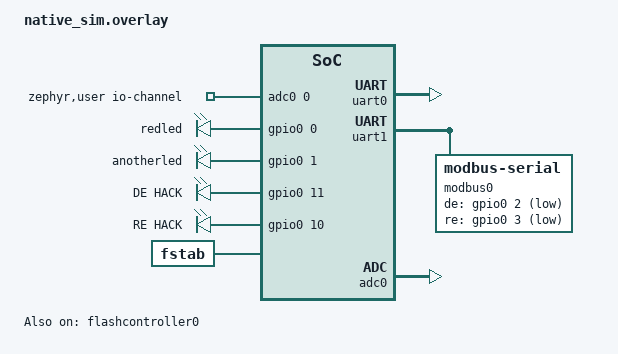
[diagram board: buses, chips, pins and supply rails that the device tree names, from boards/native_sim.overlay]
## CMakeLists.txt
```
set(BOARD potato)
set(BOARD_ROOT ${CMAKE_CURRENT_SOURCE_DIR})

cmake_minimum_required(VERSION 3.13.1)
find_package(Zephyr REQUIRED HINTS $ENV{ZEPHYR_BASE})

project(POTATO LANGUAGES C)

FILE(GLOB sources src/*.c)
target_sources(app PRIVATE ${sources})
```

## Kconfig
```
# Copyright (c) 2024 Aaron Chan
# SPDX-License-Identifier: Apache-2.0

menu "Zephyr"
source "Kconfig.zephyr"
endmenu

module = APP_POTATO
module-str = APP_POTATO
source "subsys/logging/Kconfig.template.log_config"
```

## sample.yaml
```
sample:
  description: Potato
  name: potato
common:
  build_only: true
  integration_platforms:
    - potato
tests:
  app.default: {}
  app.debug:
    extra_overlay_confs:
      - debug.conf
```

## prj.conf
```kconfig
# Copyright (c) 2024 RIT Launch Initiative
# SPDX-License-Identifier: Apache-2.0

# ADC
CONFIG_ADC=y
CONFIG_MCP356X=y

# Clocks
CONFIG_CLOCK_CONTROL=y

# Flash
CONFIG_FLASH=y
CONFIG_FLASH_MAP=y
CONFIG_FLASH_PAGE_LAYOUT=y

# Filesystem
CONFIG_FLASH=y
CONFIG_FLASH_MAP=y
CONFIG_FLASH_PAGE_LAYOUT=y
CONFIG_DISK_ACCESS=y
CONFIG_FILE_SYSTEM=y
CONFIG_FILE_SYSTEM_LITTLEFS=y
CONFIG_FS_LITTLEFS_FMP_DEV=y
CONFIG_FS_LITTLEFS_NUM_FILES=4


# Hashmap for UDP
CONFIG_SYS_HASH_MAP=y
CONFIG_SYS_HASH_FUNC32=y

# IO
CONFIG_GPIO=y
CONFIG_I2C=y
#CONFIG_I2C_CALLBACK=y
#CONFIG_I2C_RTIO=y
CONFIG_PINCTRL=y
CONFIG_SERIAL=y
CONFIG_SPI=y
CONFIG_SPI_ASYNC=y
# CONFIG_SPI_RTIO=y
CONFIG_LED=y

# OS
CONFIG_POLL=y
CONFIG_TIMESLICE_SIZE=50
CONFIG_MAIN_STACK_SIZE=2048

# Launch Core
CONFIG_LAUNCH_CORE=y


# Networking
CONFIG_NETWORKING=y
CONFIG_NET_DEFAULT_IF_ETHERNET=y
CONFIG_NET_DRIVERS=y
CONFIG_NET_IPV4=y
CONFIG_NET_L2_ETHERNET=y
CONFIG_NET_L2_ETHERNET_MGMT=y
CONFIG_NET_SOCKETS=y
CONFIG_NET_SOCKETS_POSIX_NAMES=y

# RNG (Needed for networking)
CONFIG_ENTROPY_GENERATOR=y
CONFIG_TEST_RANDOM_GENERATOR=y # TODO: See if its worth using STM32 HW RNG to remove warning

# State Machine
CONFIG_SMF=y

# Sensors
CONFIG_SENSOR=y
CONFIG_LPS22HH=y
```

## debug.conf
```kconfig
# Copyright (c) 2024 Launch Initiative
# SPDX-License-Identifier: Apache-2.0

# Compiler
CONFIG_DEBUG=y
CONFIG_DEBUG_OPTIMIZATIONS=y
CONFIG_DEBUG_THREAD_INFO=y
CONFIG_THREAD_RUNTIME_STATS=y

# Console
CONFIG_CBPRINTF_FP_SUPPORT=y
CONFIG_CONSOLE=y
CONFIG_CONSOLE_GETCHAR=y
CONFIG_CONSOLE_GETCHAR_BUFSIZE=64
CONFIG_CONSOLE_PUTCHAR_BUFSIZE=512
CONFIG_CONSOLE_SUBSYS=y
CONFIG_SERIAL=y
CONFIG_STDOUT_CONSOLE=y
CONFIG_UART_CONSOLE=y

# Shell (common)
CONFIG_SHELL=y
CONFIG_DEVICE_SHELL=y
CONFIG_FILE_SYSTEM_SHELL=y
CONFIG_FLASH_MAP_SHELL=y
CONFIG_GPIO_SHELL=y
CONFIG_KERNEL_SHELL=y
CONFIG_HEAP_MEM_POOL_SIZE=4096

# Shell (networking)
CONFIG_NET_SHELL=y

# Shell (unique)
CONFIG_I2C_SHELL=y
CONFIG_SENSOR_SHELL=y

# Logging
CONFIG_APP_POTATO_LOG_LEVEL_DBG=y
CONFIG_LOG=y
```

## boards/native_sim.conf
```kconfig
# logging
CONFIG_LOG=y

CONFIG_CONSOLE_GETCHAR=y
CONFIG_UART_NATIVE_POSIX=y
CONFIG_FLASH_SIMULATOR=y
CONFIG_UART_NATIVE_POSIX_PORT_1_ENABLE=y

CONFIG_PINCTRL=n

CONFIG_GPIO=y
CONFIG_GPIO_SHELL=y

CONFIG_MPU_ALLOW_FLASH_WRITE=y

CONFIG_FLASH=y
CONFIG_FLASH_MAP=y
CONFIG_FLASH_PAGE_LAYOUT=y
CONFIG_DISK_ACCESS=y
CONFIG_FILE_SYSTEM=y
CONFIG_FILE_SYSTEM_LITTLEFS=y
CONFIG_FS_LITTLEFS_FMP_DEV=y
CONFIG_THREAD_STACK_INFO=y

CONFIG_SLIP=n
CONFIG_SLIP_TAP=n

CONFIG_HEAP_MEM_POOL_SIZE=16384
CONFIG_UART_EMUL=y
CONFIG_ASAN=y
# CONFIG_UBSAN=y


CONFIG_ADC=y
CONFIG_SERIAL=y
CONFIG_SHELL=y
CONFIG_MCP356X=n

# CONFIG_ADC=y
# CONFIG_SHELL_LOG_LEVEL_INF=y
```

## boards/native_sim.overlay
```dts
/ {
    chosen {
        zephyr,console = &uart0;
        zephyr,shell-uart = &uart0;

        storage = &flash0;
        logfs = &lfs1;
    };

    zephyr,user {
        io-channels = <&adc0 0>;
    };
    aliases {
        adc-dev = &adc0;
        sensor-mod = &uart1;
    };

    leds: leds {
        compatible = "gpio-leds";
        redled: redled{
            gpios = <&gpio0 0 GPIO_ACTIVE_HIGH>;
        };
        anotherled: anotherled{
            gpios = <&gpio0 1 GPIO_ACTIVE_HIGH>;
        };
        de_hack: de_hack {
            gpios = <&gpio0 11 GPIO_ACTIVE_HIGH>;
            label = "DE HACK";
        };
        re_hack: re_hack {
            gpios = <&gpio0 10 GPIO_ACTIVE_HIGH>;
            label = "RE HACK";
        };

    };


    fstab {
        compatible = "zephyr,fstab";
        lfs1: lfs1 {
            compatible = "zephyr,fstab,littlefs";
            mount-point = "/lfs";
            partition = <&external_storage_partition>;
            automount;

            // the binding reccomends defaults for these
            read-size = <16>;
            prog-size = <16>;
            cache-size = <64>; // may need to grow for optimization
            lookahead-size = <32>;
            block-cycles = <(90 * 1000)>;
            // the datasheet gives 100K P-E cycles
            // NOTE: this seems to default to 512 for the mounted filesystem
            // anyway
        };
    };

};

&uart0 {
    status = "okay";
};

&uart1 {
    status = "okay";
    modbus0 {
        compatible = "zephyr,modbus-serial";
        status = "okay";

        de-gpios = <&gpio0 2 GPIO_ACTIVE_LOW>;
        re-gpios = <&gpio0 3 GPIO_ACTIVE_LOW>;
    };
};


&adc0 {
    status = "okay";
};

&flashcontroller0 {
    status = "okay";
    compatible = "zephyr,sim-flash";
    reg = <0x00000000 DT_SIZE_M(513)>;

    #address-cells = <1>;
    #size-cells = <1>;
    erase-value = <0xff>;

    flash0: flash@0 {
        status = "okay";
        compatible = "soc-nv-flash";
        erase-block-size = <4096>;
        write-block-size = <1>;
        reg = <0x00000000 DT_SIZE_M(513)>; // builtin stuff + external flash simulation

        partitions {
            compatible = "fixed-partitions";
            #address-cells = <1>;
            #size-cells = <1>;

            boot_partition: partition@0 {
                label = "mcuboot";
                reg = <0x00000000 0x0000C000>;
            };
            slot0_partition: partition@c000 {
                label = "image-0";
                reg = <0x0000C000 0x00069000>;
            };
            slot1_partition: partition@75000 {
                label = "image-1";
                reg = <0x00075000 0x00069000>;
            };
            scratch_partition: partition@de000 {
                label = "image-scratch";
                reg = <0x000de000 0x0001e000>;
            };
            external_storage_partition: partition@fc000 {
                label = "storage";
                reg = <0x000fc000 DT_SIZE_M(512)>;
            };
        };
    };
};
```

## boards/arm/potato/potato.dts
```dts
/*
 * Copyright (c) 2024 Aaron Chan
 *
 * SPDX-License-Identifier: Apache-2.0
 */

/dts-v1/;
#include <st/f4/stm32f446Xe.dtsi>
#include <st/f4/stm32f446r(c-e)tx-pinctrl.dtsi>
#include <zephyr/dt-bindings/input/input-event-codes.h>

/ {
    model = "Potato";
    compatible = "st,stm32f446re-nucleo";

    chosen {
        zephyr,sram = &sram0;
        zephyr,flash = &flash0;
        zephyr,console = &uart5;

        storage = &w25q128;
        logfs = &lfs1;
    };

    leds: leds {
        compatible = "gpio-leds";
    };

    fstab {
        compatible = "zephyr,fstab";

        lfs1: lfs1 {
            compatible = "zephyr,fstab,littlefs";
            mount-point = "/lfs";
            partition = <&external_storage_partition>;
            automount;

            read-size = <16>;
            prog-size = <16>;
            cache-size = <64>;
            lookahead-size = <32>;
            block-cycles = <(90 * 1000)>;
        };
    };

    aliases {
    };
};

&clk_lsi {
    status = "okay";
};

&clk_hsi {
    clock-frequency = <DT_FREQ_M(16)>;
    status = "okay";
};

&rcc {
    clocks = <&clk_hsi>;
    clock-frequency = <DT_FREQ_M(16)>;
    ahb-prescaler = <1>;
    apb1-prescaler = <2>;
    apb2-prescaler = <1>;
};

&uart5 {
    pinctrl-0 = <&uart5_tx_pc12 &uart5_rx_pd2>;
    pinctrl-names = "default";
    current-speed = <115200>;
    status = "okay";
};

&spi2 {
    pinctrl-0 = <&spi2_sck_pb13 &spi2_miso_pc2 &spi2_mosi_pc1>;
    cs-gpios = <&gpioc 9 GPIO_ACTIVE_LOW>;

    pinctrl-names = "default";
    status = "okay";

    w25q128: w25q128jv@0 {
        compatible = "jedec,spi-nor";
        reg = <0>;

        spi-max-frequency = <(10 * 1000 * 1000)>;
        size = <DT_SIZE_M(128)>;
        jedec-id = [ef 40 18];

        has-dpd;
        t-enter-dpd = <(3 * 1000)>;
        t-exit-dpd = <(3 * 1000)>;

        partitions {
            compatible = "fixed-partitions";
            #address-cells = <1>;
            #size-cells = <1>;

            external_storage_partition: partition@0 {
                label = "w25q-storage";
                reg = <0 DT_SIZE_M(128)>;
            };
        };
    };
};

&i2c3 {
    pinctrl-0 = <&i2c3_scl_pa8 &i2c3_sda_pc9>;
    pinctrl-names = "default";
    status = "okay";
    clock-frequency = <I2C_BITRATE_FAST>;
};

&rtc {
    clocks = <&rcc STM32_CLOCK_BUS_APB1 0x10000000>,
             <&rcc STM32_SRC_LSI RTC_SEL(2)>;
    status = "okay";
};

&backup_sram {
    status = "okay";
};

&flash0 {
    partitions {
        compatible = "fixed-partitions";
        #address-cells = <1>;
        #size-cells = <1>;

        boot_partition: partition@0 {
            label = "mcuboot";
            reg = <0x00000000 DT_SIZE_K(64)>;
            read-only;
        };

        /*
         * The flash starting at 0x00010000 and ending at
         * 0x0001ffff (sectors 16-31) is reserved for use
         * by the application.
         */
        storage_partition: partition@10000 {
            label = "storage";
            reg = <0x00010000 DT_SIZE_K(64)>;
        };

        slot0_partition: partition@20000 {
            label = "image-0";
            reg = <0x00020000 DT_SIZE_K(128)>;
        };

        slot1_partition: partition@40000 {
            label = "image-1";
            reg = <0x00040000 DT_SIZE_K(128)>;
        };

        scratch_partition: partition@60000 {
            label = "image-scratch";
            reg = <0x00060000 DT_SIZE_K(128)>;
        };
    };
};
```

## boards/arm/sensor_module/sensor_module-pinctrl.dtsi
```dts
/ {
	soc {
		pinctrl: pin-controller@40020000 {
            eth_cs_pc4: eth_cs_pc4 {
                pinmux = <STM32_PINMUX('C', 4, AF1)>;
            };

            flash_cs_pc0: flash_cs_pc0 {
                pinmux = <STM32_PINMUX('C', 0, AF1)>;
            };
        };
    };
};
```

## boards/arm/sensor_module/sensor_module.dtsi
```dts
#include <zephyr/dt-bindings/gpio/gpio.h>
```

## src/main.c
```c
// Self Include
#include "potato.h"

// Launch Includes
#include <launch_core/os/fs.h>

// Zephyr Includes
#include <zephyr/kernel.h>
#include <zephyr/logging/log.h>

LOG_MODULE_REGISTER(app_potato);

// Queues
static K_QUEUE_DEFINE(slip_tx_queue);

// Global Variables
uint32_t boot_count = -1;
bool boost_detected = false;


int main() {
    boot_count = l_fs_boot_count_check();
    return 0;
}
```

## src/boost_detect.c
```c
#include "potato.h"

// Launch Includes
#include <launch_core/conversions.h>

// Zephyr Includes
#include <zephyr/kernel.h>

#define ALTITUDE_TIME_THRESHOLD K_SECONDS(5)
#define ALTITUDE_VAL_THRESHOLD  500

// Forward Declares
static void altitude_boost_detect_cb(struct k_timer*);

// Timers
K_TIMER_DEFINE(altitude_boost_detect_timer, altitude_boost_detect_cb, NULL);

// Extern Variables
bool boost_detected;
extern float boost_detection_altitude;

static void altitude_boost_detect_cb(struct k_timer*) {
    static float prev_altitude = {0};
    static bool first_pass = true;

    if (first_pass && (boost_detection_altitude != -0xFFFF)) {
        prev_altitude = boost_detection_altitude;
        first_pass = false;
    }

    if ((boost_detection_altitude - prev_altitude) < ALTITUDE_VAL_THRESHOLD) {
        prev_altitude = boost_detection_altitude;
        return;
    }

    boost_detected = true;
}

void start_boost_detect() {
    k_timer_start(&altitude_boost_detect_timer, ALTITUDE_TIME_THRESHOLD, ALTITUDE_TIME_THRESHOLD);
}

void stop_boost_detect() { k_timer_stop(&altitude_boost_detect_timer); }
```

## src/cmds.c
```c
#include <zephyr/fs/fs.h>
#include <zephyr/shell/shell.h>
#include <zephyr/sys/base64.h>

#ifdef CONFIG_SHELL

// read from file into this
#define B64_PER_LINE       (12 * 6)
#define READING_BUFFER_LEN B64_PER_LINE
uint8_t reading_data[READING_BUFFER_LEN];

// dump base64 data here before printing
#define DUMP_BUFFER_LEN (B64_PER_LINE * 8)
uint8_t dumping_data[DUMP_BUFFER_LEN + 1];

static int dump_base64(const struct shell *shell, const char *fname) {
    struct fs_file_t file;
    int ret;
    fs_file_t_init(&file);

    ret = fs_open(&file, fname, FS_O_READ);
    if (ret < 0) {
        shell_print(shell, "Failed to open %s: %d", fname, ret);
        return ret;
    }
    int read = READING_BUFFER_LEN;

    while (read == READING_BUFFER_LEN) {
        read = fs_read(&file, reading_data, READING_BUFFER_LEN);
        if (read < 0) {
            shell_print(shell, "Failed file read of %s", fname);
            return -1;
        }
        int num_written = 0;
        ret = base64_encode(dumping_data, DUMP_BUFFER_LEN, &num_written, reading_data, read);
        if (ret < 0) {
            shell_print(shell, "encoding error %d, num_written: %d, read: %d", ret, num_written, read);
            return ret;
        }
        dumping_data[DUMP_BUFFER_LEN] = 0; // null terminator
        shell_print(shell, "%s", dumping_data);
    }
    fs_close(&file);
    return 0;
}
#define SEPARATOR "********\n"
static int cmd_dump_file(const struct shell *shell, size_t argc, char **argv) {
    ARG_UNUSED(argc);
    ARG_UNUSED(argv);
    if (argc < 1) {
        shell_print(shell, "usage: grim dump filename: dump specific file");
        shell_print(shell, "usage: grim dump: dump all files");
        return -1;
    }
    // Dump All
    if (argc == 1) {
        shell_print(shell, "Potoato cant print all speciy a pasth\n");
    }
    // Dump Specific
    if (argc > 1) {
        dump_base64(shell, argv[1]);
        return 0;
    }
    return 0;
}

extern bool boost_detected;

static int cmd_go(const struct shell *shell, size_t argc, char **argv) {
    ARG_UNUSED(argc);
    ARG_UNUSED(argv);

    boost_detected = true;

    return 0;
}

// clang-format off
SHELL_STATIC_SUBCMD_SET_CREATE(pot_subcmds, 
    SHELL_CMD(go, NULL, "Override launch detection", cmd_go),
    SHELL_CMD(dump, NULL, "Dump  file.", cmd_dump_file), 
    SHELL_SUBCMD_SET_END);

SHELL_CMD_REGISTER(potato, &pot_subcmds, "Potato Control Commands", NULL);


#endif
```

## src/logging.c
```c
// Self Include
#include "potato.h"

// Launch Includes
#include <launch_core/os/fs.h>
#include <zephyr/fs/fs.h>
// Zephyr Includes
#include <stdio.h>
#include <zephyr/kernel.h>
#include <zephyr/logging/log.h>

#define LOGGING_THREAD_STACK_SIZE 2048
LOG_MODULE_REGISTER(data_logger);

// Message Queues
#define ADC_LOG_FILE_SIZE (120000000 / sizeof(potato_adc_telemetry_t))
K_MSGQ_DEFINE(adc_logging_queue, sizeof(potato_adc_telemetry_t), 1000, 1);

// Threads
#ifdef CONFIG_DEBUG
#define THREAD_START_TIME 0
#else
#define THREAD_START_TIME 60000 * 5 // 5 minutes
#endif


static void adc_logging_task(void*);
K_THREAD_DEFINE(adc_log_thread, LOGGING_THREAD_STACK_SIZE, adc_logging_task, NULL, NULL, NULL, K_PRIO_PREEMPT(20), 0,
                THREAD_START_TIME);

// Extern Variables
extern uint32_t boot_count;
extern bool logging_enabled;

#define MAX_FILE_LEN 16

#define DATA_SAMPLE_COUNT 20000
// assume no barom
#define ADC_SAMPLE_COUNT 18000000000000
#define ADC_SAMPLE_TIME 1 // 1 Hz to fill above in 5 hours

static void adc_logging_task(void*) {
    potato_adc_telemetry_t packet = {0};
    int err = 0;

    // block until we get a boot count
    SPIN_WHILE(boot_count == -1, 1)
    // Use the boot count to create a new directory for the logs
    static char dir_name[MAX_FILE_LEN] = {0};
    snprintf(dir_name, sizeof(dir_name), "/lfs/%02d", boot_count);
    fs_mkdir(dir_name);

    static char fil_name[MAX_FILE_LEN] = {0};
    snprintf(fil_name, sizeof(fil_name), "/lfs/%02d/adc", boot_count);

    l_fs_file_t fil_file = {
        .fname = fil_name,
        .width = sizeof(potato_adc_telemetry_t),
        .mode = SLOG_ONCE,
        .size = sizeof(potato_adc_telemetry_t) * ADC_SAMPLE_COUNT,
        .initialized = false,
        .file = {0},
        .dirent = {0},
        .vfs = {0},
        .wpos = 0,
    };
    l_fs_init(&fil_file);

    LOG_INF("ADC Log Ready");

    // wait for flight to start saving this data
    LOG_INF("Accepting ADC Data");
    // Create file for logging
    while (true) {
        if (0 == k_msgq_get(&adc_logging_queue, &packet, K_SECONDS(1))) {
            l_fs_write(&fil_file, (uint8_t*) &packet, &err);
            if (err == -ENOSPC) {
                break;
            }
        }
    }
    LOG_INF("Stop Accepting ADC Data");
    l_fs_close(&fil_file);
}
```

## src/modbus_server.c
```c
// Self Include
#include "potato.h"

// Launch Includes
#include <launch_core/backplane_defs.h>

// Zephyr Includes
#include <zephyr/drivers/gpio.h>
#include <zephyr/drivers/uart.h>
#include <zephyr/kernel.h>
#include <zephyr/logging/log.h>
#include <zephyr/sys/util.h>

LOG_MODULE_REGISTER(sensor_comms, LOG_LEVEL_INF);

#define SMOD_STACK_SIZE 1024
static void smod_read_task(void*);
K_THREAD_DEFINE(smod_read_thread, SMOD_STACK_SIZE, smod_read_task, NULL, NULL, NULL, K_PRIO_PREEMPT(20), 0, 1000);

extern volatile uint8_t event_byte;

static void smod_read_task(void*) {
    const struct device* from_smod = DEVICE_DT_GET(DT_ALIAS(sensor_mod));
    static const struct gpio_dt_spec de_hack = GPIO_DT_SPEC_GET(DT_NODELABEL(de_hack), gpios);
    static const struct gpio_dt_spec re_hack = GPIO_DT_SPEC_GET(DT_NODELABEL(re_hack), gpios);
    gpio_pin_set_dt(&de_hack, 0);
    gpio_pin_set_dt(&re_hack, 1);

    unsigned char inbyte = 0x0;
    LOG_INF("Listening for sensor mod");

    while (true) {
        // 0 if got char, -1 otherwise
        if (0 == uart_poll_in(from_smod, &inbyte)) {
            event_byte = inbyte;
        }
        k_msleep(200);
    }
}
```

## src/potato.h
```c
#ifndef POTATO_H
#define POTATO_H

#include <launch_core/types.h>
#include <stdint.h>

// #ifdef CONFIG_DEBUG
// #define ADC_SAMPLE_COUNT 10
// #define THREAD_START_TIME 0
// #else
#define ADC_SAMPLE_COUNT (128000000 / sizeof(potato_adc_telemetry_t))
#define THREAD_START_TIME 60000 * 5 // 5 minutes
// #endif

typedef enum { PAD_STATE = 0, BOOST_STATE, COAST_STATE, APOGEE_STATE, MAIN_STATE, LANDING_STATE } FLIGHT_STATES;

typedef struct {
    uint8_t parts[3];
} adc_data_t;

#define ASSIGN_V32_TO_ADCDATA(v32, data)                                                                               \
    data.parts[0] = v32 & 0xff;                                                                                        \
    data.parts[1] = (v32 >> 8) & 0xff;                                                                                 \
    data.parts[2] = (v32 >> 16) & 0xff;

typedef struct __attribute__((packed)) {
    l_barometer_data_t lps22_data;
    uint32_t timestamp;
} potato_raw_telemetry_t;

typedef struct __attribute__((packed)) {
    float altitude;
    uint32_t timestamp;
} potato_telemetry_t;

typedef struct __attribute__((packed)) {
    uint32_t timestamp;
    adc_data_t data;
} potato_adc_telemetry_t;

// typedef struct __attribute__((packed)) {
// potato_raw_telemetry_t raw_telemetry;
// potato_telemetry_t telemetry;
// } logging_packet_t;

// Worlds worst orchestration
#define SPIN_WHILE(val, ms)                                                                                            \
    while (val) {                                                                                                      \
        k_msleep(ms);                                                                                                  \
    }

/**
 * Get byte from serial indicating event
 * @return Event byte
 */
uint8_t get_event_from_serial();

#endif //POTATO_H
```

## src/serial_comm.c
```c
// Zephyr Includes
#include <zephyr/kernel.h>
#include <zephyr/logging/log.h>

#define SERIAL_TASK_STACK_SIZE 512

LOG_MODULE_REGISTER(serial_comm);

// Threads
static void receive_serial(void);
K_THREAD_DEFINE(serial_rx_thread, SERIAL_TASK_STACK_SIZE, receive_serial, NULL, NULL, NULL, K_PRIO_PREEMPT(20), 0,
                1000);

// Global Variables
static uint8_t event_byte = 0;

uint8_t get_event_from_serial() {
    uint8_t ret = 0;

    if (event_byte) {
        ret = event_byte;
        event_byte = 0;
    }

    return ret;
}

static void receive_serial(void) {
    // TODO: Initialize RS485 here

    while (true) {
        // TODO: Read from serial and set event_byte
        k_msleep(1);
    }
}
```

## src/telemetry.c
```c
// Self Include
#include "potato.h"

// Launch Includes
#include <launch_core/conversions.h>
#include <launch_core/dev/sensor.h>

// Zephyr Includes
#include <zephyr/devicetree.h>
#include <zephyr/drivers/adc.h>
#include <zephyr/drivers/adc/adc_emul.h>
#include <zephyr/drivers/sensor.h>
#include <zephyr/kernel.h>
#include <zephyr/logging/log.h>

#define TELEMETRY_STACK_SIZE 512

LOG_MODULE_REGISTER(telemetry);

// Threads
// static void telemetry_read_task(void*);
// K_THREAD_DEFINE(telem_read_thread, TELEMETRY_STACK_SIZE, telemetry_read_task, NULL, NULL, NULL, K_PRIO_PREEMPT(20), 0,
// 1000);

static void adc_read_task(void*);
K_THREAD_DEFINE(adc_read_thread, TELEMETRY_STACK_SIZE, adc_read_task, NULL, NULL, NULL, K_PRIO_PREEMPT(20), 0, 1000);

// Timers
K_TIMER_DEFINE(lps22_timer, NULL, NULL);
K_TIMER_DEFINE(adc_timer, NULL, NULL);

// Queues
extern struct k_msgq logging_queue;
extern struct k_msgq adc_logging_queue;
K_MSGQ_DEFINE(boost_queue, sizeof(potato_raw_telemetry_t), 500, 1);

// Global Variables
float boost_detection_altitude = -0xFFFF;

// External Variables
extern struct k_msgq logging_queue;
extern bool logging_enabled;
extern bool boost_detected;

static void adc_read_task(void*) {
    static const struct adc_dt_spec adc_chan0 = ADC_DT_SPEC_GET_BY_IDX(DT_PATH(zephyr_user), 0);
    int32_t buf = 0;
    struct adc_sequence sequence = {
        .buffer = &buf,
        .buffer_size = sizeof(buf),
    };
    sequence.channels = adc_chan0.channel_id;
    sequence.resolution = 16; // needed for adc_emul. adc_init_sequence overwrites in normal circumstances
    potato_adc_telemetry_t adc_data = {0};

    int err = adc_sequence_init_dt(&adc_chan0, &sequence);
    if (err < 0) {
        LOG_ERR("Could not init adc channel sequence: %d", err);
    }

    LOG_INF("ADC Reader Ready");
#ifdef CONFIG_DEBUG
    // SPIN_WHILE(!boost_detected, 1); // TODO(aaron)
#endif
    while (1) {
        adc_data.timestamp = k_uptime_get();
        err = adc_read_dt(&adc_chan0, &sequence);
        if (err < 0) {
            LOG_ERR("Could not read adc chan0 (%d)\n", err);
            continue;
        }

        ASSIGN_V32_TO_ADCDATA(buf, adc_data.data);

#ifdef CONFIG_BOARD_NATIVE_SIM
        adc_data.data[i].parts[0] = 0xff;
#endif

        k_msgq_put(&adc_logging_queue, &adc_data, K_NO_WAIT);
        k_msleep(10);
    }
}
```
